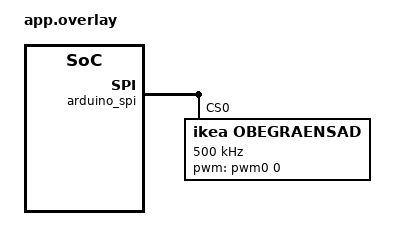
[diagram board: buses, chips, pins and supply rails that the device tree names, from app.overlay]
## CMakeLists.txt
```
cmake_minimum_required(VERSION 3.20.0)

find_package(Zephyr REQUIRED HINTS $ENV{ZEPHYR_BASE})
project(obegraensad)

target_sources(app PRIVATE src/main.c src/panel.c src/weather.c)
```

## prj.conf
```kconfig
# Minimal TF-M, fits the flash layout without a bootloader (see app.overlay)
CONFIG_TFM_PROFILE_TYPE_MINIMAL=y

CONFIG_SPI=y
CONFIG_PWM=y
CONFIG_LOG=y

# LTE
CONFIG_NRF_MODEM_LIB=y
CONFIG_LTE_LINK_CONTROL=y

# Time from the LTE network only
CONFIG_DATE_TIME=y
CONFIG_DATE_TIME_MODEM=y
CONFIG_DATE_TIME_NTP=n

# Weather forecast from api.met.no over TLS, verified with a certificate stored in the modem
CONFIG_NETWORKING=y
CONFIG_NET_NATIVE=n
CONFIG_NET_SOCKETS=y
CONFIG_MODEM_KEY_MGMT=y

CONFIG_MAIN_STACK_SIZE=2048

# Button 1 switches between countdown, clock and weather
CONFIG_DK_LIBRARY=y
```

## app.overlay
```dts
/*
 * Wiring (nRF9151 DK Arduino header -> OBEGRÄNSAD panel):
 *   D13 (P0.13, SPI SCK)  -> CLK
 *   D11 (P0.11, SPI MOSI) -> IN
 *   D10 (P0.10, SPI CS)   -> CLA
 *   D6  (P0.06, PWM)      -> EN
 *   GND                   -> GND
 */

/* Flash and RAM layout without a bootloader, as used by the NCS cellular samples */
#include <samples/cellular/nrf91_no_bootloader_partitions.dtsi>
#include <samples/cellular/nrf91_sram_partitions.dtsi>

&pinctrl {
	pwm0_default: pwm0_default {
		group1 {
			psels = <NRF_PSEL(PWM_OUT0, 0, 6)>;
		};
	};

	pwm0_sleep: pwm0_sleep {
		group1 {
			psels = <NRF_PSEL(PWM_OUT0, 0, 6)>;
			low-power-enable;
		};
	};
};

&arduino_spi {
	status = "okay";

	obegraensad: obegraensad@0 {
		compatible = "ikea,obegraensad";
		reg = <0>; /* CS 0 = D10 */
		spi-max-frequency = <500000>;
		/* EN is active low: inverted polarity makes the pulse width the on time */
		pwms = <&pwm0 0 PWM_USEC(100) PWM_POLARITY_INVERTED>;
	};
};
```

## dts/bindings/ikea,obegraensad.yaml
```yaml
description: |
  IKEA OBEGRÄNSAD 16x16 LED panel (4 chained SCT2024 constant current drivers).

  The panel's IN and CLK pins connect to SPI MOSI and SCK. CLA (latch) is
  driven by the SPI chip select: it is low while the frame is shifted in and
  goes high afterwards, which latches the new frame. EN (active low output
  enable) is driven by a PWM channel to set the brightness.

compatible: "ikea,obegraensad"

include: spi-device.yaml

properties:
  pwms:
    type: phandle-array
    required: true
    description: PWM channel connected to the EN pin
```

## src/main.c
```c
/*
 * Countdown in days, clock and weather forecast for the IKEA OBEGRÄNSAD 16x16
 * LED panel on the nRF9151 DK, using the date and time (and time zone) provided
 * by the LTE network. Button 1 switches between them.
 */

#include <limits.h>
#include <stdio.h>
#include <time.h>
#include <zephyr/kernel.h>
#include <zephyr/logging/log.h>
#include <zephyr/sys/atomic.h>
#include <zephyr/sys/timeutil.h>
#include <modem/nrf_modem_lib.h>
#include <modem/lte_lc.h>
#include <date_time.h>
#include <dk_buttons_and_leds.h>

#include "panel.h"
#include "weather.h"

LOG_MODULE_REGISTER(display, LOG_LEVEL_INF);

/* Keep this low when powering the panel from a PC USB port */
#define BRIGHTNESS_PERCENT 25

/* The date to count down to */
#define TARGET_YEAR  2027
#define TARGET_MONTH 1
#define TARGET_DAY   31

enum mode {
	MODE_COUNTDOWN,
	MODE_CLOCK,
	MODE_WEATHER,
	MODE_COUNT,
};

static atomic_t mode = ATOMIC_INIT(MODE_WEATHER);

/* 4x7 digits for the countdown, one byte per row, bit 3 is the leftmost pixel */
static const uint8_t small_digits[10][7] = {
	{0x6, 0x9, 0x9, 0x9, 0x9, 0x9, 0x6}, /* 0 */
	{0x2, 0x6, 0x2, 0x2, 0x2, 0x2, 0x7}, /* 1 */
	{0x6, 0x9, 0x1, 0x2, 0x4, 0x8, 0xf}, /* 2 */
	{0x6, 0x9, 0x1, 0x6, 0x1, 0x9, 0x6}, /* 3 */
	{0x9, 0x9, 0x9, 0xf, 0x1, 0x1, 0x1}, /* 4 */
	{0xf, 0x8, 0xe, 0x1, 0x1, 0x9, 0x6}, /* 5 */
	{0x6, 0x8, 0x8, 0xe, 0x9, 0x9, 0x6}, /* 6 */
	{0xf, 0x1, 0x2, 0x2, 0x4, 0x4, 0x4}, /* 7 */
	{0x6, 0x9, 0x9, 0x6, 0x9, 0x9, 0x6}, /* 8 */
	{0x6, 0x9, 0x9, 0x7, 0x1, 0x1, 0x6}, /* 9 */
};

/* 8x7 digits for the clock, one byte per row, MSB is the leftmost pixel.
 * From github.com/ph1p/ikea-led-obegraensad (MIT License).
 */
static const uint8_t big_digits[10][7] = {
	{0x3e, 0x63, 0x73, 0x6b, 0x67, 0x63, 0x3e}, /* 0 */
	{0x03, 0x07, 0x0f, 0x03, 0x03, 0x03, 0x03}, /* 1 */
	{0x7e, 0x03, 0x03, 0x3e, 0x60, 0x63, 0x7f}, /* 2 */
	{0x3e, 0x63, 0x03, 0x1f, 0x03, 0x63, 0x3e}, /* 3 */
	{0x63, 0x63, 0x63, 0x3f, 0x03, 0x03, 0x03}, /* 4 */
	{0x7f, 0x63, 0x60, 0x7e, 0x03, 0x63, 0x3e}, /* 5 */
	{0x3e, 0x63, 0x60, 0x7e, 0x63, 0x63, 0x3e}, /* 6 */
	{0x7f, 0x43, 0x07, 0x0c, 0x18, 0x18, 0x18}, /* 7 */
	{0x3e, 0x63, 0x63, 0x3e, 0x63, 0x63, 0x3e}, /* 8 */
	{0x3e, 0x63, 0x63, 0x3f, 0x03, 0x63, 0x3e}, /* 9 */
};

static void draw_glyph(int x, int y, const uint8_t *rows, int width)
{
	for (int row = 0; row < 7; row++) {
		for (int col = 0; col < width; col++) {
			panel_set(x + col, y + row, rows[row] & (1 << (width - 1 - col)));
		}
	}
}

/* The number of days centered on the panel */
static void draw_days(int days)
{
	char text[4];
	int n = snprintf(text, sizeof(text), "%d", CLAMP(days, 0, 999));
	int x = (PANEL_COLS - (n * 5 - 1)) / 2;

	panel_clear();
	for (int i = 0; i < n; i++) {
		draw_glyph(x + i * 5, (PANEL_ROWS - 7) / 2, small_digits[text[i] - '0'], 4);
	}
}

/* Hours in rows 0-6, minutes in rows 8-14, seconds as a bar in row 15 */
static void draw_clock(const struct tm *t)
{
	panel_clear();
	draw_glyph(0, 0, big_digits[t->tm_hour / 10], 8);
	draw_glyph(8, 0, big_digits[t->tm_hour % 10], 8);
	draw_glyph(0, 8, big_digits[t->tm_min / 10], 8);
	draw_glyph(8, 8, big_digits[t->tm_min % 10], 8);
	for (int x = 0; x <= t->tm_sec * PANEL_COLS / 60; x++) {
		panel_set(x, PANEL_ROWS - 1, true);
	}
}

/* Days from the local date to the target date */
static int days_until_target(int64_t local_ms)
{
	struct tm target = {
		.tm_year = TARGET_YEAR - 1900,
		.tm_mon = TARGET_MONTH - 1,
		.tm_mday = TARGET_DAY,
	};
	int64_t today = local_ms / 1000 / 86400;

	return timeutil_timegm64(&target) / 86400 - today;
}

/* 16x8 weather icons, '#' is a lit pixel */
static const char *const weather_icons[][8] = {
	[WEATHER_CLEAR_DAY] = {
		".......##.......",
		"..#...####...#..",
		"...#.######.#...",
		"..##.######.##..",
		"..##.######.##..",
		"...#.######.#...",
		"..#...####...#..",
		".......##.......",
	},
	[WEATHER_CLEAR_NIGHT] = {
		".....#####......",
		"....###.........",
		"...###.......#..",
		"...###......###.",
		"...###.......#..",
		"....###....#....",
		".....#####......",
		"................",
	},
	[WEATHER_PARTLY_CLOUDY] = {
		"........#.......",
		"....#..###..#...",
		"...#..#####..#..",
		"..#.########....",
		".....#########..",
		"..############..",
		"..############..",
		"....########....",
	},
	[WEATHER_CLOUDY] = {
		"................",
		".....####.......",
		"....######.####.",
		"..############..",
		".##############.",
		".##############.",
		"..############..",
		"................",
	},
	[WEATHER_FOG] = {
		"................",
		"..############..",
		"................",
		".############...",
		"................",
		"...############.",
		"................",
		".##############.",
	},
	[WEATHER_RAIN] = {
		".....####.......",
		"....######.####.",
		"..############..",
		".##############.",
		".##############.",
		"..############..",
		"..#..#..#..#....",
		"...#..#..#..#...",
	},
	[WEATHER_SNOW] = {
		".....####.......",
		"....######.####.",
		"..############..",
		".##############.",
		".##############.",
		"..############..",
		"..#...#...#...#.",
		"....#...#...#...",
	},
	[WEATHER_THUNDER] = {
		".....####.......",
		"....######.####.",
		"..############..",
		".##############.",
		".##############.",
		"..############..",
		".......##.......",
		"......##........",
	},
};

/* Icon in rows 0-7, the temperature centered in rows 9-15 */
static void draw_weather(const struct weather *w)
{
	char text[8];
	int n = snprintf(text, sizeof(text), "%d", CLAMP(w->temperature, -99, 99));
	int width = 0;
	int x;

	panel_clear();
	for (int row = 0; row < 8; row++) {
		for (int col = 0; col < PANEL_COLS; col++) {
			panel_set(col, row, weather_icons[w->icon][row][col] == '#');
		}
	}

	/* The minus sign is 3 pixels wide, digits 4, with a pixel in between */
	for (int i = 0; i < n; i++) {
		width += (text[i] == '-' ? 3 : 4) + (i > 0);
	}
	x = (PANEL_COLS - width) / 2;
	for (int i = 0; i < n; i++) {
		if (text[i] == '-') {
			for (int col = 0; col < 3; col++) {
				panel_set(x + col, 12, true);
			}
			x += 4;
		} else {
			draw_glyph(x, 9, small_digits[text[i] - '0'], 4);
			x += 5;
		}
	}
}

/* A dot running around the border (60 pixels) while waiting for the time */
static void draw_waiting(int step)
{
	int i = step % 60;
	int x, y;

	if (i < 15) {
		x = i, y = 0;
	} else if (i < 30) {
		x = 15, y = i - 15;
	} else if (i < 45) {
		x = 45 - i, y = 15;
	} else {
		x = 0, y = 60 - i;
	}

	panel_clear();
	panel_set(x, y, true);
}

static void button_handler(uint32_t button_state, uint32_t has_changed)
{
	if (has_changed & button_state & DK_BTN1_MSK) {
		atomic_set(&mode, (atomic_get(&mode) + 1) % MODE_COUNT);
	}
}

static void lte_handler(const struct lte_lc_evt *const evt)
{
	if (evt->type != LTE_LC_EVT_NW_REG_STATUS) {
		return;
	}

	switch (evt->nw_reg_status) {
	case LTE_LC_NW_REG_REGISTERED_HOME:
	case LTE_LC_NW_REG_REGISTERED_ROAMING:
		LOG_INF("Connected to LTE network");
		weather_set_connected(true);
		break;
	case LTE_LC_NW_REG_SEARCHING:
		LOG_INF("Searching for LTE network");
		weather_set_connected(false);
		break;
	default:
		weather_set_connected(false);
		break;
	}
}

static void date_time_handler(const struct date_time_evt *evt)
{
	if (evt->type == DATE_TIME_OBTAINED_MODEM) {
		LOG_INF("Got time from LTE network");
	}
}

int main(void)
{
	int err;

	err = panel_init();
	if (err) {
		LOG_ERR("Panel init failed: %d", err);
		return 0;
	}
	panel_brightness(BRIGHTNESS_PERCENT);

	err = dk_buttons_init(button_handler);
	if (err) {
		LOG_ERR("Buttons init failed: %d", err);
	}

	err = nrf_modem_lib_init();
	if (err) {
		LOG_ERR("Modem library init failed: %d", err);
		return 0;
	}

	err = weather_init();
	if (err) {
		LOG_ERR("Weather init failed: %d", err);
	}

	date_time_register_handler(date_time_handler);

	err = lte_lc_connect_async(lte_handler);
	if (err) {
		LOG_ERR("LTE connect failed: %d", err);
		return 0;
	}

	int shown_days = INT_MIN;
	enum mode shown_mode = MODE_COUNT;
	static const char *const mode_names[] = {"countdown", "clock", "weather"};

	for (int step = 0;; step++) {
		enum mode current = atomic_get(&mode);
		int64_t ms;

		if (current != shown_mode) {
			LOG_INF("Showing %s", mode_names[current]);
			shown_mode = current;
		}

		/* The network provides the local time zone; fall back to UTC without it.
		 * Checked first because date_time_now() logs a warning while there is no time.
		 */
		if (current == MODE_WEATHER) {
			struct weather w;

			if (weather_get(&w)) {
				draw_weather(&w);
			} else {
				draw_waiting(step);
			}
		} else if (date_time_is_valid() &&
		    (date_time_now_local(&ms) == 0 || date_time_now(&ms) == 0)) {
			if (current == MODE_CLOCK) {
				time_t secs = ms / 1000;
				struct tm t;

				gmtime_r(&secs, &t);
				draw_clock(&t);
			} else {
				int days = days_until_target(ms);

				if (days != shown_days) {
					LOG_INF("%d days until %04d-%02d-%02d", days, TARGET_YEAR,
						TARGET_MONTH, TARGET_DAY);
					shown_days = days;
				}
				draw_days(days);
			}
		} else {
			draw_waiting(step);
		}

		panel_show();
		k_msleep(100);
	}

	return 0;
}
```

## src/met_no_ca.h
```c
/* HARICA TLS RSA Root CA 2021, the root of the api.met.no certificate chain */
#ifndef MET_NO_CA_H_
#define MET_NO_CA_H_

static const char met_no_ca[] =
	"-----BEGIN CERTIFICATE-----\n"
	"MIIFpDCCA4ygAwIBAgIQOcqTHO9D88aOk8f0ZIk4fjANBgkqhkiG9w0BAQsFADBs\n"
	"MQswCQYDVQQGEwJHUjE3MDUGA1UECgwuSGVsbGVuaWMgQWNhZGVtaWMgYW5kIFJl\n"
	"c2VhcmNoIEluc3RpdHV0aW9ucyBDQTEkMCIGA1UEAwwbSEFSSUNBIFRMUyBSU0Eg\n"
	"Um9vdCBDQSAyMDIxMB4XDTIxMDIxOTEwNTUzOFoXDTQ1MDIxMzEwNTUzN1owbDEL\n"
	"MAkGA1UEBhMCR1IxNzA1BgNVBAoMLkhlbGxlbmljIEFjYWRlbWljIGFuZCBSZXNl\n"
	"YXJjaCBJbnN0aXR1dGlvbnMgQ0ExJDAiBgNVBAMMG0hBUklDQSBUTFMgUlNBIFJv\n"
	"b3QgQ0EgMjAyMTCCAiIwDQYJKoZIhvcNAQEBBQADggIPADCCAgoCggIBAIvC569l\n"
	"mwVnlskNJLnQDmT8zuIkGCyEf3dRywQRNrhe7Wlxp57kJQmXZ8FHws+RFjZiPTgE\n"
	"4VGC/6zStGndLuwRo0Xua2s7TL+MjaQenRG56Tj5eg4MmOIjHdFOY9TnuEFE+2uv\n"
	"a9of08WRiFukiZLRgeaMOVig1mlDqa2YUlhu2wr7a89o+uOkXjpFc5gH6l8Cct4M\n"
	"pbOfrqkdtx2z/IpZ525yZa31MJQjB/OCFks1mJxTuy/K5FrZx40d/JiZ+yykgmvw\n"
	"Kh+OC19xXFyuQnspiYHLA6OZyoieC0AJQTPb5lh6/a6ZcMBaD9YThnEvdmn8kN3b\n"
	"LW7R8pv1GmuebxWMevBLKKAiOIAkbDakO/IwkfN4E8/BPzWr8R0RI7VDIp4BkrcY\n"
	"AuUR0YLbFQDMYTfBKnya4dC6s1BG7oKsnTH4+yPiAwBIcKMJJnkVU2DzOFytOOqB\n"
	"AGMUuTNe3QvboEUHGjMJ+E20pwKmafTCWQWIZYVWrkvL4N48fS0ayOn7H6NhStYq\n"
	"E613TBoYm5EPWNgGVMWX+Ko/IIqmhaZ39qb8HOLubpQzKoNQhArlT4b4UEV4AIHr\n"
	"W2jjJo3Me1xR9BQsQL4aYB16cmEdH2MtiKrOokWQCPxrvrNQKlr9qEgYRtaQQJKQ\n"
	"CoReaDH46+0N0x3GfZkYVVYnZS6NRcUk7M7jAgMBAAGjQjBAMA8GA1UdEwEB/wQF\n"
	"MAMBAf8wHQYDVR0OBBYEFApII6ZgpJIKM+qTW8VX6iVNvRLuMA4GA1UdDwEB/wQE\n"
	"AwIBhjANBgkqhkiG9w0BAQsFAAOCAgEAPpBIqm5iFSVmewzVjIuJndftTgfvnNAU\n"
	"X15QvWiWkKQUEapobQk1OUAJ2vQJLDSle1mESSmXdMgHHkdt8s4cUCbjnj1AUz/3\n"
	"f5Z2EMVGpdAgS1D0NTsY9FVqQRtHBmg8uwkIYtlfVUKqrFOFrJVWNlar5AWMxaja\n"
	"H6NpvVMPxP/cyuN+8kyIhkdGGvMA9YCRotxDQpSbIPDRzbLrLFPCU3hKTwSUQZqP\n"
	"JzLB5UkZv/HywouoCjkxKLR9YjYsTewfM7Z+d21+UPCfDtcRj88YxeMn/ibvBZ3P\n"
	"zzfF0HvaO7AWhAw6k9a+F9sPPg4ZeAnHqQJyIkv3N3a6dcSFA1pj1bF1BcK5vZSt\n"
	"jBWZp5N99sXzqnTPBIWUmAD04vnKJGW/4GKvyMX6ssmeVkjaef2WdhW+o45WxLM0\n"
	"/L5H9MG0qPzVMIho7suuyWPEdr6sOBjhXlzPrjoiUevRi7PzKzMHVIf6tLITe7pT\n"
	"BGIBnfHAT+7hOtSLIBD6Alfm78ELt5BGnBkpjNxvoEppaZS3JGWg/6w/zgH7IS79\n"
	"aPib8qXPMThcFarmlwDB31qlpzmq6YR/PFGoOtmUW4y/Twhx5duoXNTSpv4Ao8YW\n"
	"xw/ogM4cKGR0GQjTQuPOAF1/sdwTsOEFy9EgqoZ0njnnkf3/W9b3raYvAwtt41dU\n"
	"63ZTGI0RmLo=\n"
	"-----END CERTIFICATE-----\n"
	;

#endif /* MET_NO_CA_H_ */
```

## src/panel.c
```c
/*
 * The panel is a chain of four SCT2024 16-bit shift registers. A frame is
 * 256 bits shifted in MSB first; the order in which the LEDs are chained is
 * described by positions[] (taken from github.com/ph1p/ikea-led-obegraensad).
 */

#include <string.h>
#include <zephyr/kernel.h>
#include <zephyr/drivers/spi.h>
#include <zephyr/drivers/pwm.h>

#include "panel.h"

#define PANEL DT_NODELABEL(obegraensad)

static const struct spi_dt_spec spi =
	SPI_DT_SPEC_GET(PANEL, SPI_OP_MODE_MASTER | SPI_WORD_SET(8) | SPI_TRANSFER_MSB);
static const struct pwm_dt_spec en = PWM_DT_SPEC_GET(PANEL);

/* positions[n] is the pixel (row * PANEL_COLS + col) driven by the n-th bit shifted in */
static const uint8_t positions[PANEL_ROWS * PANEL_COLS] = {
	0x0f, 0x0e, 0x0d, 0x0c, 0x0b, 0x0a, 0x09, 0x08, 0x18, 0x19, 0x1a, 0x1b, 0x1c, 0x1d, 0x1e, 0x1f,
	0x07, 0x06, 0x05, 0x04, 0x03, 0x02, 0x01, 0x00, 0x10, 0x11, 0x12, 0x13, 0x14, 0x15, 0x16, 0x17,
	0x27, 0x26, 0x25, 0x24, 0x23, 0x22, 0x21, 0x20, 0x30, 0x31, 0x32, 0x33, 0x34, 0x35, 0x36, 0x37,
	0x2f, 0x2e, 0x2d, 0x2c, 0x2b, 0x2a, 0x29, 0x28, 0x38, 0x39, 0x3a, 0x3b, 0x3c, 0x3d, 0x3e, 0x3f,
	0x4f, 0x4e, 0x4d, 0x4c, 0x4b, 0x4a, 0x49, 0x48, 0x58, 0x59, 0x5a, 0x5b, 0x5c, 0x5d, 0x5e, 0x5f,
	0x47, 0x46, 0x45, 0x44, 0x43, 0x42, 0x41, 0x40, 0x50, 0x51, 0x52, 0x53, 0x54, 0x55, 0x56, 0x57,
	0x67, 0x66, 0x65, 0x64, 0x63, 0x62, 0x61, 0x60, 0x70, 0x71, 0x72, 0x73, 0x74, 0x75, 0x76, 0x77,
	0x6f, 0x6e, 0x6d, 0x6c, 0x6b, 0x6a, 0x69, 0x68, 0x78, 0x79, 0x7a, 0x7b, 0x7c, 0x7d, 0x7e, 0x7f,
	0x8f, 0x8e, 0x8d, 0x8c, 0x8b, 0x8a, 0x89, 0x88, 0x98, 0x99, 0x9a, 0x9b, 0x9c, 0x9d, 0x9e, 0x9f,
	0x87, 0x86, 0x85, 0x84, 0x83, 0x82, 0x81, 0x80, 0x90, 0x91, 0x92, 0x93, 0x94, 0x95, 0x96, 0x97,
	0xa7, 0xa6, 0xa5, 0xa4, 0xa3, 0xa2, 0xa1, 0xa0, 0xb0, 0xb1, 0xb2, 0xb3, 0xb4, 0xb5, 0xb6, 0xb7,
	0xaf, 0xae, 0xad, 0xac, 0xab, 0xaa, 0xa9, 0xa8, 0xb8, 0xb9, 0xba, 0xbb, 0xbc, 0xbd, 0xbe, 0xbf,
	0xcf, 0xce, 0xcd, 0xcc, 0xcb, 0xca, 0xc9, 0xc8, 0xd8, 0xd9, 0xda, 0xdb, 0xdc, 0xdd, 0xde, 0xdf,
	0xc7, 0xc6, 0xc5, 0xc4, 0xc3, 0xc2, 0xc1, 0xc0, 0xd0, 0xd1, 0xd2, 0xd3, 0xd4, 0xd5, 0xd6, 0xd7,
	0xe7, 0xe6, 0xe5, 0xe4, 0xe3, 0xe2, 0xe1, 0xe0, 0xf0, 0xf1, 0xf2, 0xf3, 0xf4, 0xf5, 0xf6, 0xf7,
	0xef, 0xee, 0xed, 0xec, 0xeb, 0xea, 0xe9, 0xe8, 0xf8, 0xf9, 0xfa, 0xfb, 0xfc, 0xfd, 0xfe, 0xff,
};

static bool fb[PANEL_ROWS][PANEL_COLS];

int panel_init(void)
{
	if (!spi_is_ready_dt(&spi) || !pwm_is_ready_dt(&en)) {
		return -ENODEV;
	}

	/* Clear the shift registers before enabling the outputs */
	panel_brightness(0);
	panel_clear();
	return panel_show();
}

void panel_clear(void)
{
	memset(fb, 0, sizeof(fb));
}

void panel_set(int x, int y, bool on)
{
	if (x >= 0 && x < PANEL_COLS && y >= 0 && y < PANEL_ROWS) {
		fb[y][x] = on;
	}
}

int panel_show(void)
{
	uint8_t bits[PANEL_ROWS * PANEL_COLS / 8] = {0};

	for (int i = 0; i < PANEL_ROWS * PANEL_COLS; i++) {
		uint8_t p = positions[i];

		if (fb[p / PANEL_COLS][p % PANEL_COLS]) {
			bits[i / 8] |= 0x80 >> (i % 8);
		}
	}

	const struct spi_buf buf = {.buf = bits, .len = sizeof(bits)};
	const struct spi_buf_set tx = {.buffers = &buf, .count = 1};

	/* CS (CLA) is low while shifting and goes high afterwards, latching the frame */
	return spi_write_dt(&spi, &tx);
}

int panel_brightness(uint8_t percent)
{
	return pwm_set_pulse_dt(&en, en.period * percent / 100);
}
```

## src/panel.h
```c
/*
 * Driver for the IKEA OBEGRÄNSAD 16x16 LED panel.
 */

#ifndef PANEL_H_
#define PANEL_H_

#include <stdbool.h>
#include <stdint.h>

#define PANEL_ROWS 16
#define PANEL_COLS 16

int panel_init(void);
void panel_clear(void);
void panel_set(int x, int y, bool on);
/* Sends the frame buffer to the panel */
int panel_show(void);
int panel_brightness(uint8_t percent);

#endif /* PANEL_H_ */
```

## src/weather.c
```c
#include <errno.h>
#include <stdio.h>
#include <stdlib.h>
#include <string.h>
#include <zephyr/kernel.h>
#include <zephyr/logging/log.h>
#include <zephyr/net/socket.h>
#include <zephyr/sys/atomic.h>
#include <modem/modem_key_mgmt.h>

#include "met_no_ca.h"
#include "weather.h"

LOG_MODULE_REGISTER(weather, LOG_LEVEL_INF);

#define HOST    "api.met.no"
/* MET Norway asks for at most four decimals */
#define LATITUDE  "59.9365"
#define LONGITUDE "10.7707"
/* MET Norway requires an identifying User-Agent */
#define USER_AGENT "obegraensad-nrf9151dk github.com/coderbyheart/IKEA-OBEGRANSAD-nRF9151-DK"

#define SEC_TAG 42

#define UPDATE_INTERVAL K_MINUTES(30)
#define RETRY_INTERVAL  K_MINUTES(1)

/* The first time series entry is within the first kilobyte of the body, the rest is ignored */
static char response[2048];

static atomic_t connected;
static struct weather latest;
static bool have_latest;
static K_MUTEX_DEFINE(lock);

int weather_init(void)
{
	bool exists;
	int err = modem_key_mgmt_exists(SEC_TAG, MODEM_KEY_MGMT_CRED_TYPE_CA_CHAIN, &exists);

	if (err) {
		return err;
	}
	if (exists && modem_key_mgmt_cmp(SEC_TAG, MODEM_KEY_MGMT_CRED_TYPE_CA_CHAIN, met_no_ca,
					 sizeof(met_no_ca) - 1) == 0) {
		return 0;
	}

	LOG_INF("Provisioning certificate");
	return modem_key_mgmt_write(SEC_TAG, MODEM_KEY_MGMT_CRED_TYPE_CA_CHAIN, met_no_ca,
				    sizeof(met_no_ca) - 1);
}

void weather_set_connected(bool value)
{
	atomic_set(&connected, value);
}

bool weather_get(struct weather *out)
{
	bool valid;

	k_mutex_lock(&lock, K_FOREVER);
	valid = have_latest;
	*out = latest;
	k_mutex_unlock(&lock);

	return valid;
}

static enum weather_icon icon_from_symbol(const char *symbol, size_t len)
{
	char code[32];
	bool night;

	snprintf(code, sizeof(code), "%.*s", (int)len, symbol);
	night = strstr(code, "_night") != NULL;

	/* Symbol codes are described at https://api.met.no/weatherapi/weathericon/2.0/documentation */
	if (strstr(code, "thunder")) {
		return WEATHER_THUNDER;
	} else if (strstr(code, "snow") || strstr(code, "sleet")) {
		return WEATHER_SNOW;
	} else if (strstr(code, "rain")) {
		return WEATHER_RAIN;
	} else if (strstr(code, "fog")) {
		return WEATHER_FOG;
	} else if (strstr(code, "partlycloudy") || strstr(code, "fair")) {
		return night ? WEATHER_CLEAR_NIGHT : WEATHER_PARTLY_CLOUDY;
	} else if (strstr(code, "clearsky")) {
		return night ? WEATHER_CLEAR_NIGHT : WEATHER_CLEAR_DAY;
	}

	return WEATHER_CLOUDY;
}

/* Temperature with one decimal (e.g. -0.4), rounded to whole degrees */
static bool parse_temperature(const char *p, int *out)
{
	bool negative = *p == '-';
	int whole = 0;
	bool digits = false;

	if (negative) {
		p++;
	}
	for (; *p >= '0' && *p <= '9'; p++) {
		whole = whole * 10 + (*p - '0');
		digits = true;
	}
	if (!digits) {
		return false;
	}
	if (*p == '.' && p[1] >= '5' && p[1] <= '9') {
		whole++;
	}
	*out = negative ? -whole : whole;

	return true;
}

/* The forecast for the current hour is the first entry of the time series */
static int parse(const char *body, struct weather *out)
{
	const char *series = strstr(body, "\"timeseries\"");
	const char *temp = series ? strstr(series, "\"air_temperature\":") : NULL;
	const char *next = series ? strstr(series, "\"next_1_hours\"") : NULL;
	const char *symbol = next ? strstr(next, "\"symbol_code\":\"") : NULL;
	const char *end;

	if (!temp || !symbol) {
		return -ENOMSG;
	}
	if (!parse_temperature(temp + strlen("\"air_temperature\":"), &out->temperature)) {
		return -EBADMSG;
	}
	symbol += strlen("\"symbol_code\":\"");
	end = strchr(symbol, '"');
	if (!end) {
		return -EBADMSG;
	}
	out->icon = icon_from_symbol(symbol, end - symbol);

	return 0;
}

static int send_all(int fd, const char *data, size_t len)
{
	while (len > 0) {
		ssize_t n = zsock_send(fd, data, len, 0);

		if (n < 0) {
			return -errno;
		}
		data += n;
		len -= n;
	}

	return 0;
}

static int fetch(struct weather *out)
{
	static const char request[] =
		"GET /weatherapi/locationforecast/2.0/compact?lat=" LATITUDE "&lon=" LONGITUDE
		" HTTP/1.1\r\n"
		"Host: " HOST "\r\n"
		"User-Agent: " USER_AGENT "\r\n"
		/* The modem fails to receive large TLS records, ask for the start only */
		"Range: bytes=0-1499\r\n"
		"Connection: close\r\n\r\n";
	struct zsock_addrinfo hints = {.ai_family = AF_INET, .ai_socktype = SOCK_STREAM};
	struct zsock_addrinfo *addr;
	nrf_sec_tag_t tags[] = {SEC_TAG};
	int verify = TLS_PEER_VERIFY_REQUIRED;
	size_t used = 0;
	char *body;
	int fd, err;

	err = zsock_getaddrinfo(HOST, "443", &hints, &addr);
	if (err) {
		LOG_ERR("DNS lookup failed: %d", err);
		return -EHOSTUNREACH;
	}
	((struct sockaddr_in *)addr->ai_addr)->sin_port = htons(443);

	fd = zsock_socket(AF_INET, SOCK_STREAM, IPPROTO_TLS_1_2);
	if (fd < 0) {
		err = -errno;
		zsock_freeaddrinfo(addr);
		return err;
	}

	if (zsock_setsockopt(fd, SOL_TLS, TLS_SEC_TAG_LIST, tags, sizeof(tags)) ||
	    zsock_setsockopt(fd, SOL_TLS, TLS_HOSTNAME, HOST, sizeof(HOST) - 1) ||
	    zsock_setsockopt(fd, SOL_TLS, TLS_PEER_VERIFY, &verify, sizeof(verify))) {
		err = -errno;
		LOG_ERR("TLS setup failed: %d", err);
		goto out;
	}

	err = zsock_connect(fd, addr->ai_addr, addr->ai_addrlen) ? -errno : 0;
	if (err) {
		LOG_ERR("Connect failed: %d", err);
		goto out;
	}

	err = send_all(fd, request, sizeof(request) - 1);
	if (err) {
		LOG_ERR("Send failed: %d", err);
		goto out;
	}

	/* Only the beginning of the (large) response is needed */
	while (used < sizeof(response) - 1) {
		ssize_t n = zsock_recv(fd, response + used, MIN(sizeof(response) - 1 - used, 512), 0);

		if (n < 0) {
			err = -errno;
			LOG_ERR("Receive failed: %d", err);
			goto out;
		}
		if (n == 0) {
			break;
		}
		used += n;
	}
	response[used] = '\0';

	if (strncmp(response, "HTTP/1.1 200", strlen("HTTP/1.1 200")) != 0 &&
	    strncmp(response, "HTTP/1.1 206", strlen("HTTP/1.1 206")) != 0) {
		LOG_ERR("Unexpected response: %.12s", response);
		err = -EPROTO;
		goto out;
	}
	body = strstr(response, "\r\n\r\n");
	err = body ? parse(body, out) : -EBADMSG;
	if (err) {
		LOG_ERR("Could not parse the forecast: %d", err);
	}

out:
	zsock_close(fd);
	zsock_freeaddrinfo(addr);

	return err;
}

static void weather_thread(void)
{
	for (;;) {
		struct weather w;
		int err;

		while (!atomic_get(&connected)) {
			k_sleep(K_SECONDS(5));
		}

		err = fetch(&w);
		if (err == 0) {
			LOG_INF("Forecast: %d degrees, icon %d", w.temperature, w.icon);
			k_mutex_lock(&lock, K_FOREVER);
			latest = w;
			have_latest = true;
			k_mutex_unlock(&lock);
		}

		k_sleep(err ? RETRY_INTERVAL : UPDATE_INTERVAL);
	}
}

K_THREAD_DEFINE(weather_tid, 4096, weather_thread, NULL, NULL, NULL, K_PRIO_PREEMPT(10), 0, 0);
```

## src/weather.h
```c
/*
 * Weather forecast for the current hour from api.met.no (MET Norway).
 */

#ifndef WEATHER_H_
#define WEATHER_H_

#include <stdbool.h>

enum weather_icon {
	WEATHER_CLEAR_DAY,
	WEATHER_CLEAR_NIGHT,
	WEATHER_PARTLY_CLOUDY,
	WEATHER_CLOUDY,
	WEATHER_FOG,
	WEATHER_RAIN,
	WEATHER_SNOW,
	WEATHER_THUNDER,
};

struct weather {
	enum weather_icon icon;
	/* Degrees Celsius, rounded */
	int temperature;
};

/* Provisions the certificate used to verify api.met.no, call before connecting to LTE */
int weather_init(void);
/* Starts and stops the periodic updates, which need an LTE connection */
void weather_set_connected(bool connected);
/* Returns false until the first forecast was received */
bool weather_get(struct weather *out);

#endif /* WEATHER_H_ */
```
